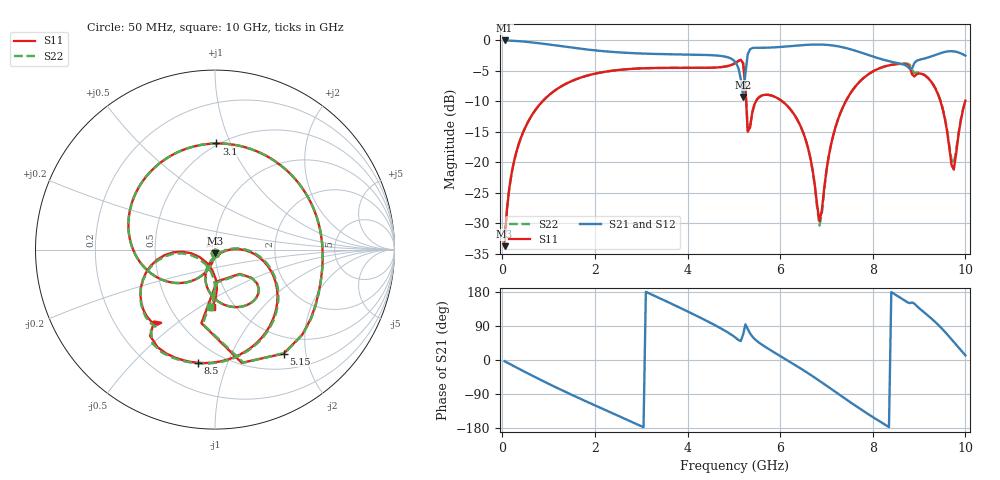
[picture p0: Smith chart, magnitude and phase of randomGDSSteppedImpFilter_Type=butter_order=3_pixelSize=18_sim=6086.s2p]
! freq	dB(S11)	phase(S11)	dB(S12)	phase(S12)
!  dB(S21)	phase(S21)	dB(S22)	phase(S22)
!S-par simulation data
#  GHz  S  DB  R 50
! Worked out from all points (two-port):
!   200 points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, 50 MHz to 10 GHz, reference 50 ohm
!   highest |S21| = -0.01 dB at 50 MHz (marker M1); lowest = -9.3 dB at 5.2 GHz (marker M2)
!   |S21| within 3 dB of the highest: start of sweep to 4.946 GHz; 5.289 GHz to 8.155 GHz (2.867 GHz wide, 42.6 % of centre) (the widest 2 of 3)
!   lowest |S11| = -33.8 dB at 50 MHz (marker M3), VSWR 1.04, Z = 49.9 - j2.04 ohm
!   |S11| at or under -10 dB: start of sweep to 869.4 MHz; 6.045 GHz to 7.417 GHz (1.372 GHz wide, 20.4 % of centre); 9.462 GHz to 9.996 GHz (534.3 MHz wide, 5.49 % of centre) (the widest 3 of 4)
!   |S22| runs from -33.8 to -3.2 dB; largest |S21 - S12| = 0
!   S11 on the Smith chart (normalised r, x): 50 MHz: 1.00, -0.04; 3.1 GHz: 0.49, +0.89; 5.15 GHz: 0.72, -1.62; 8.5 GHz: 0.37, -0.79; 10 GHz: 0.79, -0.56
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0.05  -33.77 -93.0  -0.01 -3.3  -0.01 -3.3  -33.77 -93.0
0.2  -21.86 -103.2  -0.05 -13.0  -0.05 -13.0  -21.86 -103.2
0.5  -14.21 -122.6  -0.21 -32.1  -0.21 -32.1  -14.21 -122.5
1.75  -5.96 163.5  -1.42 -105.9  -1.42 -105.9  -5.96 163.6
3.1  -4.56 89.3  -2.18 179.8  -2.18 179.8  -4.56 89.6
3.4  -4.52 72.5  -2.24 163.0  -2.24 163.0  -4.51 72.8
4.4  -4.51 14.1  -2.39 104.1  -2.39 104.1  -4.51 14.5
5.05  -3.63 -36.0  -3.74 57.6  -3.74 57.6  -3.63 -35.4
5.15  -3.17 -56.5  -6.35 50.0  -6.35 50.0  -3.16 -55.8
5.2  -3.77 -76.7  -9.27 67.3  -9.27 67.3  -3.74 -75.8
5.25  -7.60 -100.5  -5.42 94.0  -5.42 94.0  -7.53 -99.4
5.35  -14.28 -44.6  -1.46 70.3  -1.46 70.3  -14.17 -45.1
6  -9.75 -76.1  -1.08 10.7  -1.08 10.7  -9.75 -76.0
6.7  -21.22 -112.3  -0.69 -42.7  -0.69 -42.7  -21.31 -113.4
6.85  -29.67 -62.1  -0.68 -55.0  -0.68 -55.0  -30.38 -61.9
7.35  -11.04 -13.7  -1.12 -97.5  -1.12 -97.5  -11.04 -12.4
8.35  -4.09 -87.5  -3.41 -177.0  -3.41 -177.0  -4.08 -86.1
8.5  -3.91 -98.5  -3.66 171.6  -3.66 171.6  -3.88 -96.9
9  -5.42 -131.2  -3.19 136.8  -3.19 136.8  -5.29 -132.1
9.5  -10.97 -173.7  -2.01 82.0  -2.01 82.0  -10.88 -172.0
9.75  -21.21 -121.3  -1.80 47.5  -1.80 47.5  -20.25 -122.6
10  -9.89 -92.9  -2.50 12.1  -2.50 12.1  -9.81 -94.6
